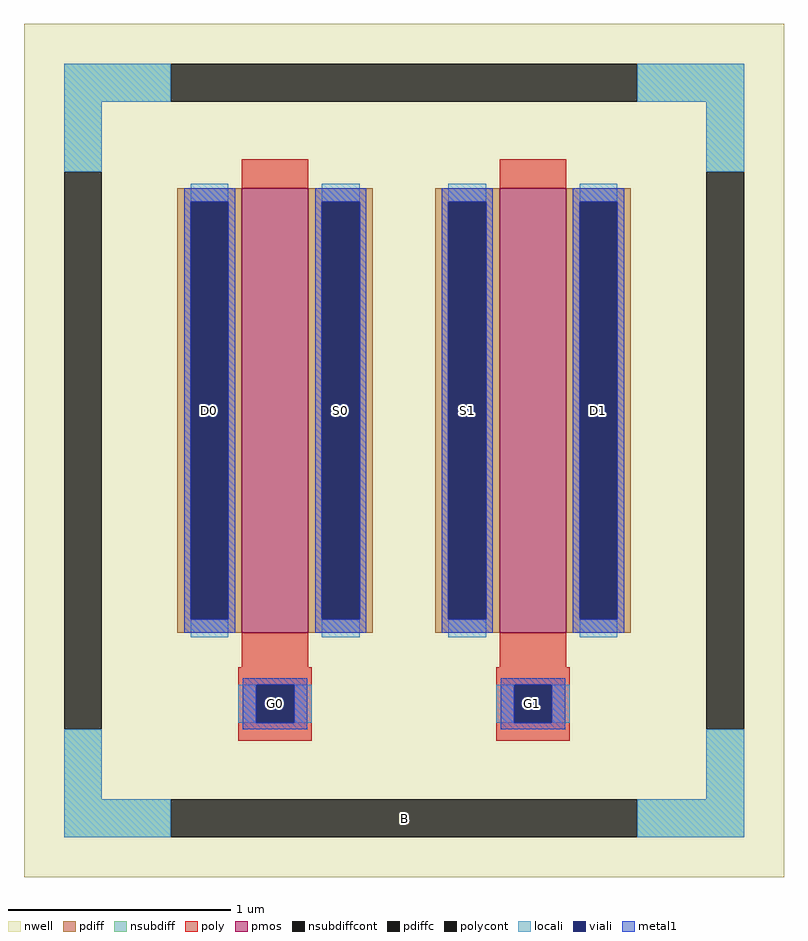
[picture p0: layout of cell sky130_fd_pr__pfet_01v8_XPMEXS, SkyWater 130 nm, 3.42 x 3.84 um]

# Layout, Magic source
magic
tech sky130A
magscale 1 2
<< nwell >>
rect -342 -384 342 384
<< pmos >>
rect -146 -164 -86 236
rect 86 -164 146 236
<< pdiff >>
rect -204 224 -146 236
rect -204 -152 -192 224
rect -158 -152 -146 224
rect -204 -164 -146 -152
rect -86 224 -28 236
rect -86 -152 -74 224
rect -40 -152 -28 224
rect -86 -164 -28 -152
rect 28 224 86 236
rect 28 -152 40 224
rect 74 -152 86 224
rect 28 -164 86 -152
rect 146 224 204 236
rect 146 -152 158 224
rect 192 -152 204 224
rect 146 -164 204 -152
<< pdiffc >>
rect -192 -152 -158 224
rect -74 -152 -40 224
rect 40 -152 74 224
rect 158 -152 192 224
<< nsubdiff >>
rect -306 314 -210 348
rect 210 314 306 348
rect -306 251 -272 314
rect 272 251 306 314
rect -306 -314 -272 -251
rect 272 -314 306 -251
rect -306 -348 -210 -314
rect 210 -348 306 -314
<< nsubdiffcont >>
rect -210 314 210 348
rect -306 -251 -272 251
rect 272 -251 306 251
rect -210 -348 210 -314
<< poly >>
rect -146 236 -86 262
rect 86 236 146 262
rect -146 -195 -86 -164
rect 86 -195 146 -164
rect -149 -211 -83 -195
rect -149 -245 -133 -211
rect -99 -245 -83 -211
rect -149 -261 -83 -245
rect 83 -211 149 -195
rect 83 -245 99 -211
rect 133 -245 149 -211
rect 83 -261 149 -245
<< polycont >>
rect -133 -245 -99 -211
rect 99 -245 133 -211
<< locali >>
rect -306 314 -210 348
rect 210 314 306 348
rect -306 251 -272 314
rect 272 251 306 314
rect -192 224 -158 240
rect -192 -168 -158 -152
rect -74 224 -40 240
rect -74 -168 -40 -152
rect 40 224 74 240
rect 40 -168 74 -152
rect 158 224 192 240
rect 158 -168 192 -152
rect -149 -245 -133 -211
rect -99 -245 -83 -211
rect 83 -245 99 -211
rect 133 -245 149 -211
rect -306 -314 -272 -251
rect 272 -314 306 -251
rect -306 -348 -210 -314
rect 210 -348 306 -314
<< viali >>
rect -192 -152 -158 224
rect -74 -152 -40 224
rect 40 -152 74 224
rect 158 -152 192 224
rect -133 -245 -99 -211
rect 99 -245 133 -211
<< metal1 >>
rect -198 224 -152 236
rect -198 -152 -192 224
rect -158 -152 -152 224
rect -198 -164 -152 -152
rect -80 224 -34 236
rect -80 -152 -74 224
rect -40 -152 -34 224
rect -80 -164 -34 -152
rect 34 224 80 236
rect 34 -152 40 224
rect 74 -152 80 224
rect 34 -164 80 -152
rect 152 224 198 236
rect 152 -152 158 224
rect 192 -152 198 224
rect 152 -164 198 -152
rect -145 -211 -87 -205
rect -145 -245 -133 -211
rect -99 -245 -87 -211
rect -145 -251 -87 -245
rect 87 -211 145 -205
rect 87 -245 99 -211
rect 133 -245 145 -211
rect 87 -251 145 -245
<< labels >>
rlabel nsubdiffcont 0 -331 0 -331 0 B
port 1 nsew
rlabel pdiffc -175 36 -175 36 0 D0
port 2 nsew
rlabel pdiffc -57 36 -57 36 0 S0
port 3 nsew
rlabel polycont -116 -228 -116 -228 0 G0
port 4 nsew
rlabel pdiffc 175 36 175 36 0 D1
port 5 nsew
rlabel pdiffc 57 36 57 36 0 S1
port 6 nsew
rlabel polycont 116 -228 116 -228 0 G1
port 7 nsew
<< properties >>
string FIXED_BBOX -289 -331 289 331
string gencell sky130_fd_pr__pfet_01v8
string library sky130
string parameters w 2 l 0.3 m 1 nf 2 diffcov 100 polycov 100 guard 1 glc 1 grc 1 gtc 1 gbc 1 tbcov 100 rlcov 100 topc 0 botc 1 poverlap 0 doverlap 0 lmin 0.15 wmin 0.42 class mosfet compatible {sky130_fd_pr__pfet_01v8  sky130_fd_pr__pfet_01v8_lvt sky130_fd_pr__pfet_01v8_hvt  sky130_fd_pr__pfet_g5v0d10v5} full_metal 1 conn_gates 0 viasrc 100 viadrn 100 viagate 100 viagb 0 viagr 0 viagl 0 viagt 0 doports 1
<< end >>
